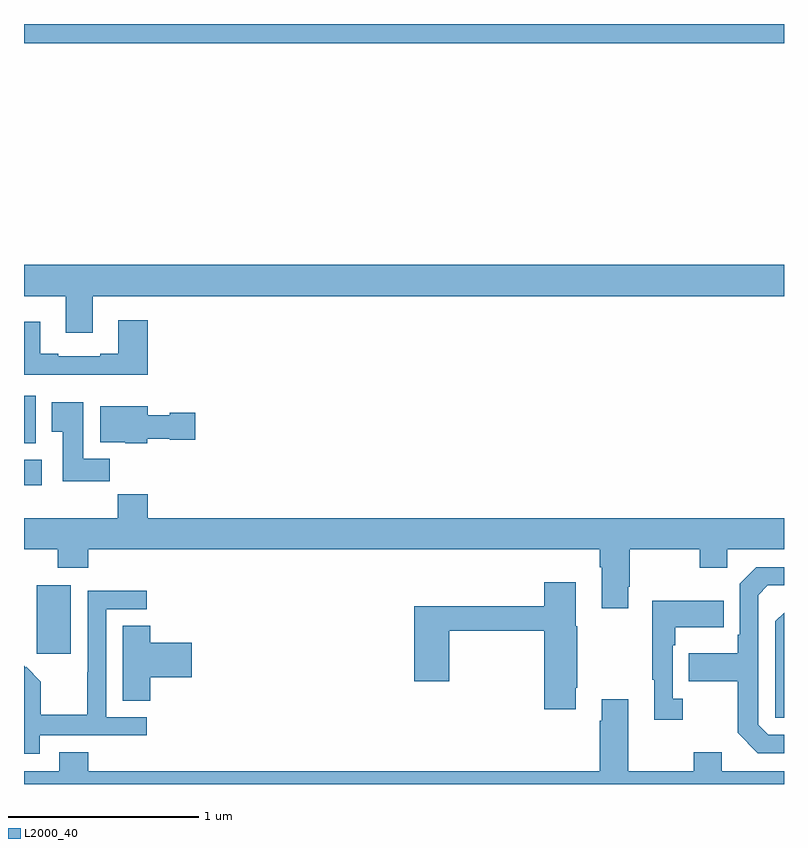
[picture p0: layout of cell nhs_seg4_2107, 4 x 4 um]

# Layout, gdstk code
import gdstk
lib = gdstk.Library(unit=1e-6, precision=1e-09)
def R(c, l, rs):  # rectangles x0, y0, x1, y1
    for r in rs: c.add(gdstk.rectangle(r[:2], r[2:], *l))
def P(c, l, *ps):  # polygons
    for p in ps: c.add(gdstk.Polygon(p, *l))
L2000_40 = (2000, 40)

nhs_seg4_2107 = lib.new_cell('nhs_seg4_2107')
R(nhs_seg4_2107, L2000_40, [(219.068,813.585,219.247,813.946), (219,814.472,219.094,814.606), (219,814.694,219.061,814.944), (219,816.8,223,816.9)])
P(nhs_seg4_2107, L2000_40, [(219.361,815.468),(223,815.468),(223,815.632),(219,815.632),(219,815.468),(219.221,815.468),(219.221,815.274),(219.361,815.274)],
  [(219.65,815.341),(219.497,815.341),(219.497,815.164),(219.401,815.164),(219.401,815.151),(219.181,815.151),(219.181,815.164),(219.085,815.164),(219.085,815.332),(219,815.332),(219,815.054),(219.65,815.054)],
  [(219.452,814.612),(219.313,814.612),(219.313,814.909),(219.146,814.909),(219.146,814.753),(219.203,814.753),(219.203,814.494),(219.452,814.494)],
  [(219.648,814.718),(219.768,814.718),(219.768,814.711),(219.901,814.711),(219.901,814.853),(219.768,814.853),(219.768,814.84),(219.652,814.84),(219.652,814.888),(219.401,814.888),(219.401,814.7),(219.534,814.7),(219.534,814.694),(219.648,814.694)],
  [(222.181,813.937),(222.189,813.937),(222.189,814.136),(222.556,814.136),(222.556,814.037),(222.702,814.037),(222.702,814.136),(223,814.136),(223,814.3),(219.65,814.3),(219.65,814.424),(219.493,814.424),(219.493,814.3),(219,814.3),(219,814.136),(219.178,814.136),(219.178,814.037),(219.338,814.037),(219.338,814.136),(222.029,814.136),(222.029,814.04),(222.041,814.04),(222.041,813.825),(222.181,813.825)],
  [(223,813.159),(222.918,813.159),(222.864,813.213),(222.864,813.894),(222.915,813.945),(223,813.945),(223,814.041),(222.855,814.041),(222.768,813.954),(222.768,813.685),(222.756,813.685),(222.756,813.589),(222.499,813.589),(222.499,813.442),(222.756,813.442),(222.756,813.169),(222.861,813.063),(223,813.063)],
  [(221.905,813.406),(221.913,813.406),(221.913,813.729),(221.905,813.729),(221.905,813.961),(221.738,813.961),(221.738,813.835),(221.054,813.835),(221.054,813.441),(221.237,813.441),(221.237,813.706),(221.738,813.706),(221.738,813.294),(221.905,813.294)],
  [(219.084,813.156),(219.646,813.156),(219.646,813.252),(219.432,813.252),(219.432,813.819),(219.646,813.819),(219.646,813.918),(219.336,813.918),(219.336,813.488),(219.334,813.488),(219.334,813.265),(219.089,813.265),(219.089,813.439),(219.012,813.516),(219.009,813.513),(219,813.522),(219,813.059),(219.084,813.059)],
  [(222.466,813.35),(222.414,813.35),(222.414,813.629),(222.427,813.629),(222.427,813.725),(222.683,813.725),(222.683,813.865),(222.306,813.865),(222.306,813.449),(222.317,813.449),(222.317,813.237),(222.466,813.237)],
  [(223,813.802),(222.954,813.756),(222.954,813.249),(223,813.249)],
  [(219.665,813.461),(219.883,813.461),(219.883,813.644),(219.665,813.644),(219.665,813.734),(219.521,813.734),(219.521,813.337),(219.665,813.337)],
  [(223,812.968),(222.673,812.968),(222.673,813.067),(222.526,813.067),(222.526,812.968),(222.181,812.968),(222.181,813.346),(222.041,813.346),(222.041,813.233),(222.029,813.233),(222.029,812.968),(219.338,812.968),(219.338,813.067),(219.185,813.067),(219.185,812.968),(219,812.968),(219,812.9),(223,812.9)])

lib.write_gds('nhs_seg4_2107.gds')
